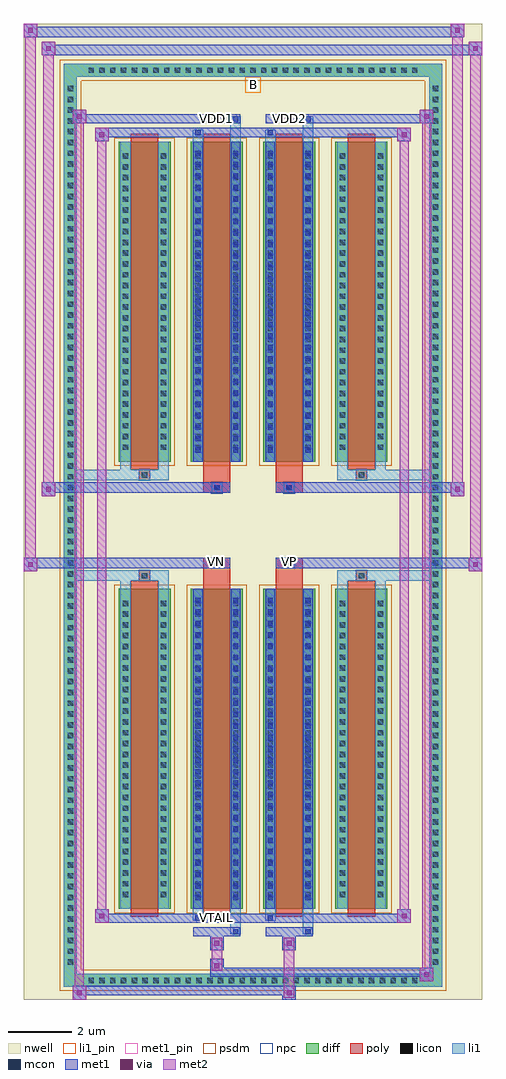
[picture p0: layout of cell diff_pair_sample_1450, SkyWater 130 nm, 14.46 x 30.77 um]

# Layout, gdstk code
import gdstk
lib = gdstk.Library(unit=1e-6, precision=5e-09)
def R(c, l, rs):  # rectangles x0, y0, x1, y1
    for r in rs: c.add(gdstk.rectangle(r[:2], r[2:], *l))
def A(c, l, x, y, w, h, nx, ny, dx, dy):  # array of equal rectangles
    R(c, l, [(x+i*dx, y+j*dy, x+i*dx+w, y+j*dy+h) for i in range(nx) for j in range(ny)])
def P(c, l, *ps):  # polygons
    for p in ps: c.add(gdstk.Polygon(p, *l))
nwell = (64, 20)
diff = (65, 20)
poly = (66, 20)
licon = (66, 44)
li1_pin = (67, 16)
li1 = (67, 20)
mcon = (67, 44)
met1_pin = (68, 16)
met1 = (68, 20)
via = (68, 44)
met2 = (69, 20)
psdm = (94, 20)
npc = (95, 20)

diff_pair_sample_1450 = lib.new_cell('diff_pair_sample_1450')
R(diff_pair_sample_1450, nwell, [(-7.23,-14.95,7.23,15.82), (-4.55,-13.14,-0.01,-0.82), (0.01,-13.14,4.55,-0.82), (-4.55,0.82,-0.01,13.14), (0.01,0.82,4.55,13.14)])
A(diff_pair_sample_1450, diff, -5.305, -14.55, 0.41, 0.41, 31, 2, 0.34, 28.69)
A(diff_pair_sample_1450, diff, -5.96, -13.975, 0.41, 0.41, 1, 82, 0, 0.34)
A(diff_pair_sample_1450, diff, 5.55, -13.975, 0.41, 0.41, 1, 82, 0, 0.34)
A(diff_pair_sample_1450, diff, -4.24, -12.095, 1.64, 10.09, 4, 2, 2.28, 14.1)
R(diff_pair_sample_1450, diff, [(-5.305,-14.55,5.305,-14.14), (-5.96,-13.975,-5.55,13.975), (5.55,-13.975,5.96,13.975), (-5.305,14.14,5.305,14.55)])
P(diff_pair_sample_1450, diff, [(5.96,14.55),(-5.96,14.55),(-5.96,-14.14),(-5.55,-14.14),(-5.55,14.14),(5.55,14.14),(5.55,-14.14),(-5.55,-14.14),(-5.96,-14.14),(-5.96,-14.55),(5.96,-14.55)])
A(diff_pair_sample_1450, poly, -3.85, -12.345, 0.86, 10.59, 4, 2, 2.28, 14.1)
R(diff_pair_sample_1450, poly, [(-3.585,-1.755,-3.255,-1.425), (-3.585,-1.755,-3.255,-1.425), (-1.57,-1.755,-0.71,-1.35), (0.71,-1.755,1.57,-1.35), (3.255,-1.755,3.585,-1.425), (3.255,-1.755,3.585,-1.425), (-1.57,-1.35,-0.71,-1.02), (-1.305,-1.35,-0.975,-1.02), (0.71,-1.35,1.57,-1.02), (0.975,-1.35,1.305,-1.02), (-1.57,1.02,-0.71,1.35), (-1.305,1.02,-0.975,1.35), (0.71,1.02,1.57,1.35), (0.975,1.02,1.305,1.35), (-1.57,1.35,-0.71,1.755), (0.71,1.35,1.57,1.755), (-3.585,1.425,-3.255,1.755), (-3.585,1.425,-3.255,1.755), (3.255,1.425,3.585,1.755), (3.255,1.425,3.585,1.755)])
A(diff_pair_sample_1450, licon, -5.185, -14.43, 0.17, 0.17, 31, 2, 0.34, 28.69)
A(diff_pair_sample_1450, licon, -5.84, -13.855, 0.17, 0.17, 1, 82, 0, 0.34)
A(diff_pair_sample_1450, licon, 5.67, -13.855, 0.17, 0.17, 1, 82, 0, 0.34)
A(diff_pair_sample_1450, licon, -4.1, -11.725, 0.17, 0.17, 1, 28, 0, 0.34)
A(diff_pair_sample_1450, licon, -2.91, -11.725, 0.17, 0.17, 1, 28, 0, 0.34)
A(diff_pair_sample_1450, licon, -1.82, -11.725, 0.17, 0.17, 1, 28, 0, 0.34)
A(diff_pair_sample_1450, licon, -0.63, -11.725, 0.17, 0.17, 1, 28, 0, 0.34)
A(diff_pair_sample_1450, licon, 0.46, -11.725, 0.17, 0.17, 1, 28, 0, 0.34)
A(diff_pair_sample_1450, licon, 1.65, -11.725, 0.17, 0.17, 1, 28, 0, 0.34)
A(diff_pair_sample_1450, licon, 2.74, -11.725, 0.17, 0.17, 1, 28, 0, 0.34)
A(diff_pair_sample_1450, licon, 3.93, -11.725, 0.17, 0.17, 1, 28, 0, 0.34)
A(diff_pair_sample_1450, licon, -4.1, 2.375, 0.17, 0.17, 1, 28, 0, 0.34)
A(diff_pair_sample_1450, licon, -2.91, 2.375, 0.17, 0.17, 1, 28, 0, 0.34)
A(diff_pair_sample_1450, licon, -1.82, 2.375, 0.17, 0.17, 1, 28, 0, 0.34)
A(diff_pair_sample_1450, licon, -0.63, 2.375, 0.17, 0.17, 1, 28, 0, 0.34)
A(diff_pair_sample_1450, licon, 0.46, 2.375, 0.17, 0.17, 1, 28, 0, 0.34)
A(diff_pair_sample_1450, licon, 1.65, 2.375, 0.17, 0.17, 1, 28, 0, 0.34)
A(diff_pair_sample_1450, licon, 2.74, 2.375, 0.17, 0.17, 1, 28, 0, 0.34)
A(diff_pair_sample_1450, licon, 3.93, 2.375, 0.17, 0.17, 1, 28, 0, 0.34)
R(diff_pair_sample_1450, licon, [(-3.505,-1.675,-3.335,-1.505), (3.335,-1.675,3.505,-1.505), (-1.225,-1.27,-1.055,-1.1), (1.055,-1.27,1.225,-1.1), (-1.225,1.1,-1.055,1.27), (1.055,1.1,1.225,1.27), (-3.505,1.505,-3.335,1.675), (3.335,1.505,3.505,1.675)])
R(diff_pair_sample_1450, li1_pin, [(-0.25,13.64,0.25,14.14)])
A(diff_pair_sample_1450, li1, -5.265, -14.51, 0.33, 0.33, 31, 2, 0.34, 28.69)
A(diff_pair_sample_1450, li1, -5.92, -13.935, 0.33, 0.33, 1, 82, 0, 0.34)
A(diff_pair_sample_1450, li1, 5.59, -13.935, 0.33, 0.33, 1, 82, 0, 0.34)
A(diff_pair_sample_1450, li1, -1.82, -11.815, 0.17, 0.17, 1, 27, 0, 0.36)
A(diff_pair_sample_1450, li1, -0.63, -11.815, 0.17, 0.17, 1, 27, 0, 0.36)
A(diff_pair_sample_1450, li1, 0.46, -11.815, 0.17, 0.17, 1, 27, 0, 0.36)
A(diff_pair_sample_1450, li1, 1.65, -11.815, 0.17, 0.17, 1, 27, 0, 0.36)
A(diff_pair_sample_1450, li1, -4.18, -11.805, 0.33, 0.33, 1, 28, 0, 0.34)
A(diff_pair_sample_1450, li1, -2.99, -11.805, 0.33, 0.33, 1, 28, 0, 0.34)
A(diff_pair_sample_1450, li1, -1.9, -11.805, 0.33, 0.33, 1, 28, 0, 0.34)
A(diff_pair_sample_1450, li1, -0.71, -11.805, 0.33, 0.33, 1, 28, 0, 0.34)
A(diff_pair_sample_1450, li1, 0.38, -11.805, 0.33, 0.33, 1, 28, 0, 0.34)
A(diff_pair_sample_1450, li1, 1.57, -11.805, 0.33, 0.33, 1, 28, 0, 0.34)
A(diff_pair_sample_1450, li1, 2.66, -11.805, 0.33, 0.33, 1, 28, 0, 0.34)
A(diff_pair_sample_1450, li1, 3.85, -11.805, 0.33, 0.33, 1, 28, 0, 0.34)
A(diff_pair_sample_1450, li1, -1.82, 2.285, 0.17, 0.17, 1, 27, 0, 0.36)
A(diff_pair_sample_1450, li1, -0.63, 2.285, 0.17, 0.17, 1, 27, 0, 0.36)
A(diff_pair_sample_1450, li1, 0.46, 2.285, 0.17, 0.17, 1, 27, 0, 0.36)
A(diff_pair_sample_1450, li1, 1.65, 2.285, 0.17, 0.17, 1, 27, 0, 0.36)
A(diff_pair_sample_1450, li1, -4.18, 2.295, 0.33, 0.33, 1, 28, 0, 0.34)
A(diff_pair_sample_1450, li1, -2.99, 2.295, 0.33, 0.33, 1, 28, 0, 0.34)
A(diff_pair_sample_1450, li1, -1.9, 2.295, 0.33, 0.33, 1, 28, 0, 0.34)
A(diff_pair_sample_1450, li1, -0.71, 2.295, 0.33, 0.33, 1, 28, 0, 0.34)
A(diff_pair_sample_1450, li1, 0.38, 2.295, 0.33, 0.33, 1, 28, 0, 0.34)
A(diff_pair_sample_1450, li1, 1.57, 2.295, 0.33, 0.33, 1, 28, 0, 0.34)
A(diff_pair_sample_1450, li1, 2.66, 2.295, 0.33, 0.33, 1, 28, 0, 0.34)
A(diff_pair_sample_1450, li1, 3.85, 2.295, 0.33, 0.33, 1, 28, 0, 0.34)
R(diff_pair_sample_1450, li1, [(-5.96,-14.55,-5.55,-14.14), (-5.96,-14.55,-5.55,-14.14), (-5.55,-14.55,5.55,-14.14), (5.55,-14.55,5.96,-14.14), (5.55,-14.55,5.96,-14.14), (-5.96,-14.14,-5.55,14.14), (5.55,-14.14,5.96,14.14), (-0.71,-12.9,-0.38,-12.095), (-0.63,-12.9,-0.46,-12.73), (1.57,-12.9,1.9,-12.095), (1.65,-12.9,1.82,-12.73), (-1.9,-12.47,-1.57,-12.095), (-1.82,-12.47,-1.65,-12.3), (0.38,-12.47,0.71,-12.095), (0.46,-12.47,0.63,-12.3), (-4.18,-12.095,-3.85,-2.005), (-2.99,-12.095,-2.66,-2.005), (-1.9,-12.095,-1.57,-2.005), (-0.71,-12.095,-0.38,-2.005), (0.38,-12.095,0.71,-2.005), (1.57,-12.095,1.9,-2.005), (2.66,-12.095,2.99,-2.005), (3.85,-12.095,4.18,-2.005), (-1.82,-11.815,-1.65,-2.285), (-0.63,-11.815,-0.46,-2.285), (0.46,-11.815,0.63,-2.285), (1.65,-11.815,1.82,-2.285), (-4.18,-2.005,-3.85,-1.425), (-2.99,-2.005,-2.66,-1.425), (2.66,-2.005,2.99,-1.425), (3.85,-2.005,4.18,-1.425), (-5.96,-1.755,-3.585,-1.425), (-4.18,-1.755,-3.585,-1.425), (-3.585,-1.755,-3.255,-1.425), (-3.255,-1.755,-2.66,-1.425), (2.66,-1.755,3.255,-1.425), (3.255,-1.755,3.585,-1.425), (3.255,-1.755,5.96,-1.425), (3.585,-1.755,4.18,-1.425), (-1.305,-1.35,-0.975,-1.02), (0.975,-1.35,1.305,-1.02), (-1.305,1.02,-0.975,1.35), (0.975,1.02,1.305,1.35), (-5.96,1.425,-3.585,1.755), (-4.18,1.425,-3.585,1.755), (-4.18,1.425,-3.85,2.005), (-3.585,1.425,-3.255,1.755), (-3.255,1.425,-2.66,1.755), (-2.99,1.425,-2.66,2.005), (2.66,1.425,3.255,1.755), (2.66,1.425,2.99,2.005), (3.255,1.425,3.585,1.755), (3.255,1.425,5.96,1.755), (3.585,1.425,4.18,1.755), (3.85,1.425,4.18,2.005), (-4.18,2.005,-3.85,12.095), (-2.99,2.005,-2.66,12.095), (-1.9,2.005,-1.57,12.095), (-0.71,2.005,-0.38,12.095), (0.38,2.005,0.71,12.095), (1.57,2.005,1.9,12.095), (2.66,2.005,2.99,12.095), (3.85,2.005,4.18,12.095), (-1.82,2.285,-1.65,11.815), (-0.63,2.285,-0.46,11.815), (0.46,2.285,0.63,11.815), (1.65,2.285,1.82,11.815), (-1.9,12.095,-1.57,12.47), (-0.71,12.095,-0.38,12.9), (0.38,12.095,0.71,12.47), (1.57,12.095,1.9,12.9), (-1.82,12.3,-1.65,12.47), (0.46,12.3,0.63,12.47), (-0.63,12.73,-0.46,12.9), (1.65,12.73,1.82,12.9), (-5.96,14.14,-5.55,14.55), (-5.96,14.14,-5.55,14.55), (-5.55,14.14,5.55,14.55), (5.55,14.14,5.96,14.55), (5.55,14.14,5.96,14.55)])
A(diff_pair_sample_1450, mcon, -1.82, -11.815, 0.17, 0.17, 1, 27, 0, 0.36)
A(diff_pair_sample_1450, mcon, -0.63, -11.815, 0.17, 0.17, 1, 27, 0, 0.36)
A(diff_pair_sample_1450, mcon, 0.46, -11.815, 0.17, 0.17, 1, 27, 0, 0.36)
A(diff_pair_sample_1450, mcon, 1.65, -11.815, 0.17, 0.17, 1, 27, 0, 0.36)
A(diff_pair_sample_1450, mcon, -1.82, 2.285, 0.17, 0.17, 1, 27, 0, 0.36)
A(diff_pair_sample_1450, mcon, -0.63, 2.285, 0.17, 0.17, 1, 27, 0, 0.36)
A(diff_pair_sample_1450, mcon, 0.46, 2.285, 0.17, 0.17, 1, 27, 0, 0.36)
A(diff_pair_sample_1450, mcon, 1.65, 2.285, 0.17, 0.17, 1, 27, 0, 0.36)
R(diff_pair_sample_1450, mcon, [(-0.63,-12.9,-0.46,-12.73), (1.65,-12.9,1.82,-12.73), (-1.82,-12.47,-1.65,-12.3), (0.46,-12.47,0.63,-12.3), (-1.225,-1.27,-1.055,-1.1), (1.055,-1.27,1.225,-1.1), (-1.225,1.1,-1.055,1.27), (1.055,1.1,1.225,1.27), (-1.82,12.3,-1.65,12.47), (0.46,12.3,0.63,12.47), (-0.63,12.73,-0.46,12.9), (1.65,12.73,1.82,12.9)])
R(diff_pair_sample_1450, met1_pin, [(-1.275,-12.51,-1.005,-12.24), (-1.275,-1.29,-1.005,-1.02), (1.005,-1.29,1.275,-1.02), (-1.275,12.69,-1.005,12.96), (1.005,12.69,1.275,12.96)])
A(diff_pair_sample_1450, met1, -1.88, -11.875, 0.29, 0.29, 1, 27, 0, 0.36)
A(diff_pair_sample_1450, met1, -0.69, -11.875, 0.29, 0.29, 1, 27, 0, 0.36)
A(diff_pair_sample_1450, met1, 0.4, -11.875, 0.29, 0.29, 1, 27, 0, 0.36)
A(diff_pair_sample_1450, met1, 1.59, -11.875, 0.29, 0.29, 1, 27, 0, 0.36)
A(diff_pair_sample_1450, met1, -1.88, 2.225, 0.29, 0.29, 1, 27, 0, 0.36)
A(diff_pair_sample_1450, met1, -0.69, 2.225, 0.29, 0.29, 1, 27, 0, 0.36)
A(diff_pair_sample_1450, met1, 0.4, 2.225, 0.29, 0.29, 1, 27, 0, 0.36)
A(diff_pair_sample_1450, met1, 1.59, 2.225, 0.29, 0.29, 1, 27, 0, 0.36)
R(diff_pair_sample_1450, met1, [(-5.69,-14.95,-5.26,-14.52), (0.925,-14.95,1.355,-14.52), (-5.69,-14.81,1.355,-14.52), (5.26,-14.38,5.69,-13.95), (-1.355,-14.24,5.69,-13.95), (-1.355,-14.1,-0.925,-13.67), (-1.355,-13.39,-0.925,-12.96), (0.925,-13.39,1.355,-12.96), (-1.88,-12.96,-0.4,-12.67), (-0.69,-12.96,-0.4,-12.67), (0.4,-12.96,1.88,-12.67), (1.59,-12.96,1.88,-12.67), (-4.98,-12.53,-4.55,-12.1), (-4.98,-12.53,-1.88,-12.24), (-1.88,-12.53,-1.59,-12.24), (-1.88,-12.53,-0.4,-12.24), (-0.4,-12.53,0.4,-12.24), (0.4,-12.53,0.69,-12.24), (0.4,-12.53,1.88,-12.24), (1.88,-12.53,4.98,-12.24), (4.55,-12.53,4.98,-12.1), (-1.88,-12.095,-1.59,-2.005), (-0.69,-12.095,-0.4,-2.005), (0.4,-12.095,0.69,-2.005), (1.59,-12.095,1.88,-2.005), (-7.23,-1.45,-6.8,-1.02), (6.8,-1.45,7.23,-1.02), (-7.23,-1.35,-0.71,-1.02), (-1.57,-1.35,-0.71,-1.02), (0.71,-1.35,1.57,-1.02), (0.71,-1.35,7.23,-1.02), (-1.285,-1.33,-0.995,-1.04), (0.995,-1.33,1.285,-1.04), (-6.66,0.92,-6.23,1.35), (6.23,0.92,6.66,1.35), (-6.66,1.02,-1.57,1.35), (-1.57,1.02,-0.71,1.35), (0.71,1.02,1.57,1.35), (1.57,1.02,6.66,1.35), (-1.285,1.04,-0.995,1.33), (0.995,1.04,1.285,1.33), (-1.88,2.005,-1.59,12.095), (-0.69,2.005,-0.4,12.095), (0.4,2.005,0.69,12.095), (1.59,2.005,1.88,12.095), (-4.98,12.1,-4.55,12.53), (4.55,12.1,4.98,12.53), (-4.98,12.24,-1.88,12.53), (-1.88,12.24,-1.59,12.53), (-1.88,12.24,-0.4,12.53), (-0.4,12.24,0.4,12.53), (0.4,12.24,0.69,12.53), (0.4,12.24,1.88,12.53), (1.88,12.24,4.98,12.53), (-5.69,12.67,-5.26,13.1), (-5.69,12.67,-1.88,12.96), (-1.88,12.67,-0.4,12.96), (-0.69,12.67,-0.4,12.96), (0.4,12.67,1.88,12.96), (1.59,12.67,1.88,12.96), (1.88,12.67,5.69,12.96), (5.26,12.67,5.69,13.1), (-6.66,14.82,-6.23,15.25), (-6.66,14.82,-4.55,15.15), (-4.55,14.82,4.55,15.15), (4.55,14.82,7.23,15.15), (6.8,14.82,7.23,15.25), (-7.23,15.39,-6.8,15.82), (-7.23,15.39,-4.55,15.72), (-4.55,15.39,4.55,15.72), (4.55,15.39,6.66,15.72), (6.23,15.39,6.66,15.82)])
R(diff_pair_sample_1450, via, [(-5.55,-14.81,-5.4,-14.66), (1.065,-14.81,1.215,-14.66), (5.4,-14.24,5.55,-14.09), (-1.215,-13.96,-1.065,-13.81), (-1.215,-13.25,-1.065,-13.1), (1.065,-13.25,1.215,-13.1), (-4.84,-12.39,-4.69,-12.24), (4.69,-12.39,4.84,-12.24), (-7.09,-1.31,-6.94,-1.16), (6.94,-1.31,7.09,-1.16), (-6.52,1.06,-6.37,1.21), (6.37,1.06,6.52,1.21), (-4.84,12.24,-4.69,12.39), (4.69,12.24,4.84,12.39), (-5.55,12.81,-5.4,12.96), (5.4,12.81,5.55,12.96), (-6.52,14.96,-6.37,15.11), (6.94,14.96,7.09,15.11), (-7.09,15.53,-6.94,15.68), (6.37,15.53,6.52,15.68)])
R(diff_pair_sample_1450, met2, [(-5.69,-14.95,-5.26,-14.52), (-5.62,-14.95,-5.33,13.1), (-5.33,-14.95,-5.26,-14.52), (-5.64,-14.9,-5.31,-14.57), (0.975,-14.9,1.305,-14.57), (0.975,-14.57,1.305,-13.34), (5.26,-14.38,5.69,-13.95), (5.33,-14.38,5.62,13.1), (5.62,-14.38,5.69,-13.95), (5.31,-14.33,5.64,-14), (-1.305,-14.05,-0.975,-13.72), (-1.305,-13.72,-0.975,-13.34), (-1.305,-13.34,-0.975,-13.01), (0.975,-13.34,1.305,-13.01), (-4.98,-12.53,-4.55,-12.1), (-4.91,-12.53,-4.62,12.53), (-4.62,-12.53,-4.55,-12.1), (4.55,-12.53,4.98,-12.1), (4.62,-12.53,4.91,12.53), (4.91,-12.53,4.98,-12.1), (-4.93,-12.48,-4.6,-12.15), (4.6,-12.48,4.93,-12.15), (-7.23,-1.45,-6.8,-1.02), (-7.18,-1.45,-6.85,15.82), (-6.85,-1.45,-6.8,-1.02), (6.8,-1.45,7.23,-1.02), (6.85,-1.45,7.18,15.25), (7.18,-1.45,7.23,-1.02), (-7.18,-1.4,-6.85,-1.07), (6.85,-1.4,7.18,-1.07), (-6.66,0.92,-6.23,1.35), (-6.61,0.92,-6.28,15.25), (-6.28,0.92,-6.23,1.35), (6.23,0.92,6.66,1.35), (6.28,0.92,6.61,15.82), (6.61,0.92,6.66,1.35), (-6.61,0.97,-6.28,1.3), (6.28,0.97,6.61,1.3), (-4.98,12.1,-4.55,12.53), (-4.62,12.1,-4.55,12.53), (4.55,12.1,4.98,12.53), (4.91,12.1,4.98,12.53), (-4.93,12.15,-4.6,12.48), (4.6,12.15,4.93,12.48), (-5.69,12.67,-5.26,13.1), (-5.33,12.67,-5.26,13.1), (5.26,12.67,5.69,13.1), (5.62,12.67,5.69,13.1), (-5.64,12.72,-5.31,13.05), (5.31,12.72,5.64,13.05), (-6.66,14.82,-6.23,15.25), (-6.28,14.82,-6.23,15.25), (6.8,14.82,7.23,15.25), (7.18,14.82,7.23,15.25), (-6.61,14.87,-6.28,15.2), (6.85,14.87,7.18,15.2), (-7.23,15.39,-6.8,15.82), (-6.85,15.39,-6.8,15.82), (6.23,15.39,6.66,15.82), (6.61,15.39,6.66,15.82), (-7.18,15.44,-6.85,15.77), (6.28,15.44,6.61,15.77)])
A(diff_pair_sample_1450, psdm, -4.37, -12.225, 1.9, 10.35, 4, 2, 2.28, 14.1)
P(diff_pair_sample_1450, psdm, [(6.09,14.68),(-6.09,14.68),(-6.09,-14.01),(-5.42,-14.01),(-5.42,14.01),(5.42,14.01),(5.42,-14.01),(-5.42,-14.01),(-6.09,-14.01),(-6.09,-14.68),(6.09,-14.68)])
R(diff_pair_sample_1450, npc, [(-3.605,-1.775,-3.235,-1.405), (3.235,-1.775,3.605,-1.405), (-1.325,-1.37,-0.955,-1), (0.955,-1.37,1.325,-1), (-1.325,1,-0.955,1.37), (0.955,1,1.325,1.37), (-3.605,1.405,-3.235,1.775), (3.235,1.405,3.605,1.775)])
diff_pair_sample_1450.add(gdstk.Label('VTAIL', (-1.14,-12.375), layer=68, texttype=5))
diff_pair_sample_1450.add(gdstk.Label('VN', (-1.14,-1.155), layer=68, texttype=5))
diff_pair_sample_1450.add(gdstk.Label('VP', (1.14,-1.155), layer=68, texttype=5))
diff_pair_sample_1450.add(gdstk.Label('B', (0,13.89), layer=67, texttype=5))
diff_pair_sample_1450.add(gdstk.Label('VDD2', (1.14,12.825), layer=68, texttype=5))
diff_pair_sample_1450.add(gdstk.Label('VDD1', (-1.14,12.825), layer=68, texttype=5))

lib.write_gds('diff_pair_sample_1450.gds')
